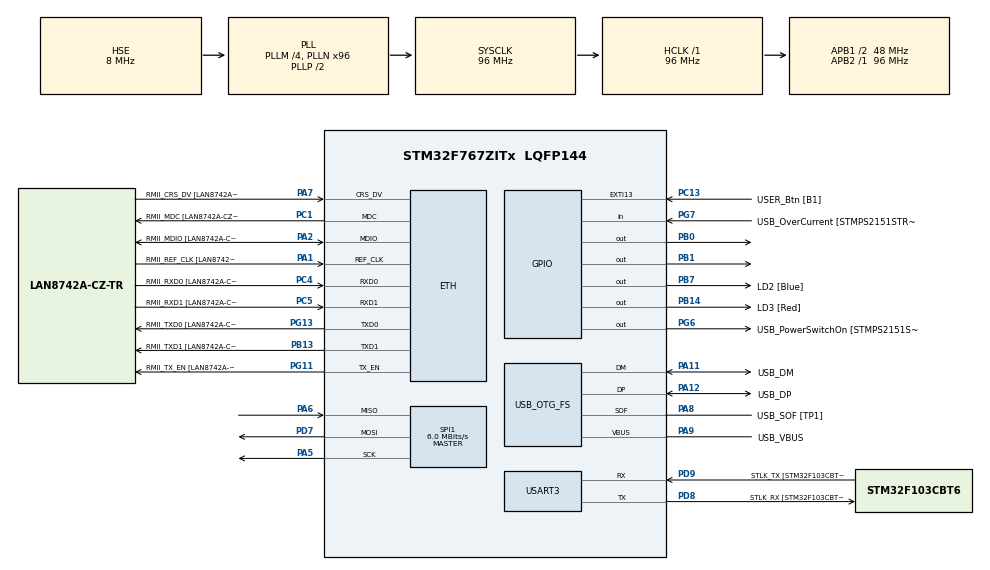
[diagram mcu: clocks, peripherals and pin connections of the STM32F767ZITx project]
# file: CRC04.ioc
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ETH.MediaInterface=HAL_ETH_RMII_MODE
ETH.PHY_Name=LAN8742A_PHY_ADDRESS
ETH.PHY_Value=0
ETH.PhyAddress=0
FATFS._MAX_SS=4096
FATFS._USE_LFN=1
Mcu.Family=STM32F7
Mcu.Name=STM32F767ZITx
Mcu.Package=LQFP144
NVIC.PriorityGroup=NVIC_PRIORITYGROUP_4
PA1.GPIO_Label=RMII_REF_CLK [LAN8742A-CZ-TR_REFCLK0]
PA1.Mode=RMII
PA1.Signal=ETH_REF_CLK
PA10.GPIO_Label=USB_ID
PA10.Signal=USB_OTG_FS_ID
PA11.GPIO_Label=USB_DM
PA11.Mode=Device_Only
PA11.Signal=USB_OTG_FS_DM
PA12.GPIO_Label=USB_DP
PA12.Mode=Device_Only
PA12.Signal=USB_OTG_FS_DP
PA13.GPIO_Label=TMS
PA13.Mode=Serial_Wire
PA13.Signal=SYS_JTMS-SWDIO
PA14.GPIO_Label=TCK
PA14.Mode=Serial_Wire
PA14.Signal=SYS_JTCK-SWCLK
PA2.GPIO_Label=RMII_MDIO [LAN8742A-CZ-TR_MDIO]
PA2.Mode=RMII
PA2.Signal=ETH_MDIO
PA5.Mode=Full_Duplex_Master
PA5.Signal=SPI1_SCK
PA6.Mode=Full_Duplex_Master
PA6.Signal=SPI1_MISO
PA7.GPIO_Label=RMII_CRS_DV [LAN8742A-CZ-TR_CRS_DV]
PA7.Mode=RMII
PA7.Signal=ETH_CRS_DV
PA8.GPIO_Label=USB_SOF [TP1]
PA8.Mode=Activate_SOF_FS
PA8.Signal=USB_OTG_FS_SOF
PA9.GPIO_Label=USB_VBUS
PA9.Mode=Activate_VBUS
PA9.Signal=USB_OTG_FS_VBUS
PB0.Signal=GPIO_Output
PB1.Signal=GPIO_Output
PB13.GPIO_Label=RMII_TXD1 [LAN8742A-CZ-TR_TXD1]
PB13.Mode=RMII
PB13.Signal=ETH_TXD1
PB14.GPIO_Label=LD3 [Red]
PB14.Signal=GPIO_Output
PB3.GPIO_Label=SWO
PB3.Signal=SYS_JTDO-SWO
PB7.GPIO_Label=LD2 [Blue]
PB7.Signal=GPIO_Output
PC1.GPIO_Label=RMII_MDC [LAN8742A-CZ-TR_MDC]
PC1.Mode=RMII
PC1.Signal=ETH_MDC
PC13.GPIO_Label=USER_Btn [B1]
PC13.Signal=GPXTI13
PC14/OSC32_IN.Signal=RCC_OSC32_IN
PC15/OSC32_OUT.Signal=RCC_OSC32_OUT
PC4.GPIO_Label=RMII_RXD0 [LAN8742A-CZ-TR_RXD0]
PC4.Mode=RMII
PC4.Signal=ETH_RXD0
PC5.GPIO_Label=RMII_RXD1 [LAN8742A-CZ-TR_RXD1]
PC5.Mode=RMII
PC5.Signal=ETH_RXD1
PD7.Mode=Full_Duplex_Master
PD7.Signal=SPI1_MOSI
PD8.GPIO_Label=STLK_RX [STM32F103CBT6_PA3]
PD8.Mode=Asynchronous
PD8.Signal=USART3_TX
PD9.GPIO_Label=STLK_TX [STM32F103CBT6_PA2]
PD9.Mode=Asynchronous
PD9.Signal=USART3_RX
PG11.GPIO_Label=RMII_TX_EN [LAN8742A-CZ-TR_TXEN]
PG11.Mode=RMII
PG11.Signal=ETH_TX_EN
PG13.GPIO_Label=RMII_TXD0 [LAN8742A-CZ-TR_TXD0]
PG13.Mode=RMII
PG13.Signal=ETH_TXD0
PG6.GPIO_Label=USB_PowerSwitchOn [STMPS2151STR_EN]
PG6.Signal=GPIO_Output
PG7.GPIO_Label=USB_OverCurrent [STMPS2151STR_FAULT]
PG7.Signal=GPIO_Input
PH0/OSC_IN.GPIO_Label=MCO [STM32F103CBT6_PA8]
PH0/OSC_IN.Mode=HSE-External-Oscillator
PH0/OSC_IN.Signal=RCC_OSC_IN
PH1/OSC_OUT.Mode=HSE-External-Oscillator
PH1/OSC_OUT.Signal=RCC_OSC_OUT
ProjectManager.HeapSize=0x200
ProjectManager.StackSize=0x400
ProjectManager.TargetToolchain=STM32CubeIDE
RCC.48MHZClocksFreq_Value=24000000
RCC.AHBFreq_Value=96000000
RCC.APB1CLKDivider=RCC_HCLK_DIV2
RCC.APB1Freq_Value=48000000
RCC.APB1TimFreq_Value=96000000
RCC.APB2Freq_Value=96000000
RCC.APB2TimFreq_Value=96000000
RCC.CortexFreq_Value=96000000
RCC.HCLKFreq_Value=96000000
RCC.HSE_VALUE=8000000
RCC.HSI_VALUE=16000000
RCC.LSE_VALUE=32768
RCC.PLLM=4
RCC.PLLMUL=RCC_PLL_MUL9
RCC.PLLN=96
RCC.PLLQ=4
RCC.PRESCALERUSB=RCC_USBCLKSOURCE_PLL_DIV1_5
RCC.SYSCLKFreq_VALUE=96000000
RCC.SYSCLKSource=RCC_SYSCLKSOURCE_PLLCLK
RCC.SYSCLKSourceVirtual=RCC_SYSCLKSOURCE_PLLCLK
RCC.USBFreq_Value=48000000
RCC.VCOOutputFreq_Value=192000000
SPI1.BaudRatePrescaler=SPI_BAUDRATEPRESCALER_16
SPI1.CalculateBaudRate=6.0 MBits/s
SPI1.DataSize=SPI_DATASIZE_8BIT
SPI1.Direction=SPI_DIRECTION_2LINES
SPI1.Mode=SPI_MODE_MASTER
SPI1.VirtualType=VM_MASTER
USART3.VirtualMode-Asynchronous=VM_ASYNC
USB_OTG_FS.VirtualMode=Device_Only
VP_CRC_VS_CRC.Mode=CRC_Activate
VP_FATFS_VS_Generic.Mode=User_defined
board=NUCLEO-F767ZI

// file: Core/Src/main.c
/* USER CODE BEGIN Header */
/**
  ******************************************************************************
  * @file           : main.c
  * @brief          : Main program body
  ******************************************************************************
  * @attention
  *
  * Copyright (c) 2024 STMicroelectronics.
  * All rights reserved.
  *
  * This software is licensed under terms that can be found in the LICENSE file
  * in the root directory of this software component.
  * If no LICENSE file comes with this software, it is provided AS-IS.
  *
  ******************************************************************************
  */
/* USER CODE END Header */
#include "main.h"
#include "string.h"
#include "fatfs.h"

/* USER CODE BEGIN Includes */

#include "fatfs_sd.h"
#include "ff.h"
#include "diskio.h"

#include <stdio.h>
#include "stm32F7xx_hal.h"

/* USER CODE END Includes */

#if defined ( __ICCARM__ ) /*!< IAR Compiler */
#pragma location=0x2007c000
ETH_DMADescTypeDef  DMARxDscrTab[ETH_RX_DESC_CNT]; /* Ethernet Rx DMA Descriptors */
#pragma location=0x2007c0a0
ETH_DMADescTypeDef  DMATxDscrTab[ETH_TX_DESC_CNT]; /* Ethernet Tx DMA Descriptors */

#elif defined ( __CC_ARM )  /* MDK ARM Compiler */

__attribute__((at(0x2007c000))) ETH_DMADescTypeDef  DMARxDscrTab[ETH_RX_DESC_CNT]; /* Ethernet Rx DMA Descriptors */
__attribute__((at(0x2007c0a0))) ETH_DMADescTypeDef  DMATxDscrTab[ETH_TX_DESC_CNT]; /* Ethernet Tx DMA Descriptors */

#elif defined ( __GNUC__ ) /* GNU Compiler */
ETH_DMADescTypeDef DMARxDscrTab[ETH_RX_DESC_CNT] __attribute__((section(".RxDecripSection"))); /* Ethernet Rx DMA Descriptors */
ETH_DMADescTypeDef DMATxDscrTab[ETH_TX_DESC_CNT] __attribute__((section(".TxDecripSection")));   /* Ethernet Tx DMA Descriptors */

#endif

ETH_TxPacketConfig TxConfig;

CRC_HandleTypeDef hcrc;

ETH_HandleTypeDef heth;

SPI_HandleTypeDef hspi1;

UART_HandleTypeDef huart3;

PCD_HandleTypeDef hpcd_USB_OTG_FS;

void SystemClock_Config(void);
static void MX_GPIO_Init(void);
static void MX_ETH_Init(void);
static void MX_USART3_UART_Init(void);
static void MX_USB_OTG_FS_PCD_Init(void);
static void MX_SPI1_Init(void);
static void MX_CRC_Init(void);

/* USER CODE BEGIN 0 */

FATFS fs; // file system

FIL fil;// file
FRESULT fresult; // to storing result of each operation
char buffer[1024];// store the data which can read/write
char checkbuff[1024];

uint32_t crcValue;
char uartbuff[1024];

#define MAXFILE 1000
#define MAX_FILENAME_LENGTH 30

char Afilename[MAXFILE][MAX_FILENAME_LENGTH];
uint32_t Acrc[MAXFILE];

char Afilename_in_index[MAXFILE][MAX_FILENAME_LENGTH];

UINT br, bw; // file read/write count (counter)

// 0.0 capacity check var
FATFS *pfs;
DWORD fre_clust;
uint32_t total, free_space;

void send_uart (char *string){

	uint8_t len = strlen (string);

	//1.1.1 transmit in blocking mode
	// HAL_UART_Transmit(UART_HandleTypeDef *huart, const uint8_t *pData, uint16_t Size, uint32_t Timeout)
	HAL_UART_Transmit(&huart3,(uint8_t *) string, len , 2000);
}

//void find_txtfile (void)
void find_txtfile (const TCHAR* namsakhun){

	DIR dir; // directory
	FILINFO fno; // file info
	//path = ""; //list

	char surname[5];

	sprintf(surname,"*.%s",namsakhun);
	send_uart(surname);

	fresult = f_opendir(&dir, "");

		 if ( fresult != FR_OK){

			 sprintf(buffer, "fresult = %d f_opendir \r\n", fresult);
			 send_uart(buffer);

		 }
		 else if ( fresult == FR_OK){

			 do{

				 //fresult = f_findfirst(&dir, &fno, "", surname);
				 fresult = f_findfirst(&dir, &fno, "index", surname);

					 while( fresult == FR_OK && fno.fname[0] ){
						 sprintf(buffer,"\r %s \r\n",fno.fname);
						 send_uart(buffer);
						 fresult = f_findnext(&dir,&fno);

					 }
		 }while (fno.fname[0] != 0);
		 }
		 f_closedir(&dir);

}

// aka. �?ลัวชื่อไฟล์ซ้ำ
int is_dup_filename (char *filename, int count){
	//if (filename != "index.txt"){
	for (int k = 0; k <= count; k++) {
	        if (strcmp(Afilename[k], filename) == 0) {
	            return 1; // Duplicate found
	        }
	}return 0; // No duplicate

 	 //}
}

int is_filename_in_index (char *filename, int count_in_index){
	//if (filename != "index.txt"){
	for (int k = 0; k <= count_in_index ; k++) {
	        if (strcmp(Afilename_in_index[k], filename) == 0) {
	            return 1; // Duplicate found
	        }
	}return 0; // No duplicate

 	 //}
}

int check_filename_w_index (const char *filename){

	fresult = f_open(&fil,filename, FA_OPEN_ALWAYS | FA_READ | FA_WRITE);

	  if ( fresult == FR_OK){
		  send_uart("index.txt opened leaw ka :P \n");
	    		}
	  if ( fresult != FR_OK){

		  send_uart("Failed to open index file T_T \r\n");
		  return -1;
	  }

	  int count = 0;
	  //f_read(&fil , buffer, sizeof(buffer) , &br);
	  while (f_gets(Afilename_in_index[count], MAX_FILENAME_LENGTH, &fil)) {

		  Afilename_in_index[count][strcspn(Afilename_in_index[count], "\n")] = '\0';
		          count++;
		          if (count >= MAXFILE) break;

	  }

	  f_close(&fil);
}

uint8_t i = 0;
uint8_t j = 0;

void find_txtfile_w_crc3 (const TCHAR* namsakhun){

	DIR dir; // directory
	FILINFO fno; // file info

	char surname[5];

	sprintf(surname,"*.%s",namsakhun);
	send_uart(surname);

	fresult = f_opendir(&dir, "");

		 if ( fresult != FR_OK){

			 sprintf(buffer, "fresult = %d f_opendir \r\n", fresult);
			 send_uart(buffer);

		 }
		 else if ( fresult == FR_OK && fno.fname != "index.txt" ){

			 do{

				 	 	 fresult = f_findfirst(&dir, &fno, "", surname);

				 	 	 /* ********************************** */
						 while( fresult == FR_OK && fno.fname[0] ){

							 if (fresult != FR_OK || fno.fname[0] == 0) {
										 if (fno.fname[0] == 0) {
											 send_uart("No more files.\r\n");
										 } else {
											 sprintf(buffer, "Error finding first file: %d\r\n", fresult);
											 send_uart(buffer);
										 }
										 break;
									 }

							 if (is_dup_filename(fno.fname,i)== 0){

								 sprintf(buffer," %s \r\n",fno.fname);
								 send_uart(buffer);

								 if ( i < MAXFILE && i == j){
									 //strncpy( Afilename[i] , fno.fname , fno.fsize );

									 strncpy(Afilename[i], fno.fname, sizeof(Afilename[i]) - 1);
									 Afilename[i][sizeof(Afilename[i]) - 1] = '\0';

									 sprintf(buffer,"File name array = %s \r\n", Afilename[i]);
									 send_uart(buffer);
									 sprintf(buffer,"position i = %d \r\n", i);
									 send_uart(buffer);

									 i++ ;

								 } else {
										send_uart("Maximum file limit reached.\r\n");
										break;
									}

								 fresult = f_open(&fil, fno.fname, FA_READ);
								 crcValue = 0xFFFFFFFF;

								 while ((fresult = f_read(&fil, buffer, sizeof(buffer), &br)) == FR_OK && br > 0) {

									crcValue = HAL_CRC_Accumulate(&hcrc, (uint32_t *)buffer, br / sizeof(uint32_t));
								 }

								 crcValue ^= 0xFFFFFFFF;

								 /* 0x%08X : to transform DEC to HEX
								  *
								  * 0x ; hex format
								  * % ; format spec
								  * 08 ; padded w 0, min of 8 char
								  * X ; uppercase hexadecimal number
								  *
								  * */

								 sprintf(uartbuff, "CRC32: 0x%08X\r\n", crcValue);
								 send_uart(uartbuff);

								 if ( j < MAXFILE && j == i-1){

										Acrc[j] = crcValue;

										sprintf(buffer,"CRC array = %u \r\n", Acrc[j]);
										send_uart(buffer);
										sprintf(buffer,"position j = %d \r\n", j);
										send_uart(buffer);

										j++ ;

								} else {
									send_uart("Maximum file limit reached.\r\n");
									break;
								}
							 }
						 f_close(&fil);

						 fresult = f_findnext(&dir,&fno);

					 }

		 }while (fno.fname[0] != 0);
		 }

		 f_closedir(&dir);

}

char Cfilename[MAXFILE][MAX_FILENAME_LENGTH];
uint32_t Ccrc[MAXFILE];

int line[100];
int crc_buff;

void check_crc_from_index(void){

	int count = 0;
	FRESULT res;

	res = f_open(&fil, "index.txt", /*FA_OPEN_ALWAYS | */ FA_READ /*| FA_WRITE*/);
	if (res != FR_OK) {
					sprintf(buffer, "Error opening output file: %d\r\n", res);
					send_uart(buffer);
					return;
				}

	while(f_gets(buffer, sizeof(buffer) ,&fil)){
			send_uart(buffer);

			// remove \n from the end of a string
			buffer[strcspn(buffer, "\n")] = '\0';

			// split file name and crc
			char *Cfilename_ = strtok(buffer, ", ");
			char *Ccrc_ = strtok(NULL, ", ");

			// filename >.<
			if (Cfilename_ != NULL) {

						sprintf(checkbuff,"Cfilename_ : %s\r\n", Cfilename_); // suppose to show string
						send_uart(checkbuff);
			}else { send_uart("Error: filename not found\r\n");}

			// CRC >.<
			if (Ccrc_ != NULL) {

						sprintf(checkbuff,"Ccrc_ : %s\r\n", Ccrc_); // suppose to show string
						send_uart(checkbuff);

						// crc's buffer : string to hex
						crc_buff = (int) strtol(Ccrc_,NULL,16);
						sprintf(checkbuff,"%X\r\n", crc_buff);
						send_uart(checkbuff);

			}else { send_uart("Error: CRC value not found\r\n");}

			// add to the clone array
			if(Cfilename_&& Ccrc != NULL){

				strncpy(Cfilename[count], Cfilename_, MAX_FILENAME_LENGTH - 1);
				Cfilename[count][MAX_FILENAME_LENGTH - 1] = '\0'; //
				Ccrc[count] = crc_buff;

				count++;
			}

	}

	for (int i = 0; i < count; i++) {
			sprintf(buffer,"Name: %s, CRC: %d\r\n", Cfilename[i], Ccrc[i]);
			send_uart(buffer);
	}

	f_close(&fil);

	// compare array btw Afilename w Cfilename
	for (int i = 0; i <= count; i++) {
		for(int j = 0; j<= count; j++){
			if(Ccrc[i] == Acrc[j]){
				sprintf(buffer,"sump jaaaaa, Acrc = %d , Ccrc = %d \r\n",Acrc[j],Ccrc[i]);
				send_uart(buffer);
				break;

			}else if(Ccrc[i] != Acrc[j]){
				send_uart("no sump ka\r\n");
				if(j == count){
					sprintf(buffer,"still no sump jaaaaa, Ccrc = %d \r\n",Ccrc[i]);
					send_uart(buffer);
				}

			}
		}
	}

}

uint8_t hrs_r_gmt;
uint8_t min_r;
uint8_t sec_r;

uint8_t exact_date;
uint8_t exact_month;

char hrs_r_gmt_char[2];
char min_r_char[2];
char sec_r_char[2];

char exact_date_char[2];
char exact_month_char[2];

char timestamp_now[20];

void utc2rtc_ja(uint32_t UTC_now){

	// compare array btw Afilename w Cfilename
	// started date : 07-30-2024

	uint32_t m = 63072000; // year 1972 in UTC
	uint32_t fouryears_sec = 126230400; // all sec in 4 years

	//uint32_t UTC_now = 1722837758;

	// n = remaining sec started in 1972
	uint32_t n = UTC_now - m;

	sprintf(buffer,"n = %u \r\n",n);
	send_uart(buffer);

	double tt = (double)n / (double)fouryears_sec ; // tt = total round in 4 years

	// find remaining round
	double rr = (double)tt - (int)tt ;

	sprintf(buffer,"rr = %2f \r\n",rr);
	send_uart(buffer);

	//comparing w sec in 4 years
	uint32_t sec4y_rr = rr* fouryears_sec ;

	//total day remaining
	////// aka. convert sec4y_rr (sec) -> day
	double days4y_rr = (double)sec4y_rr / (double)(60*60*24) ;

	////////////////////////////////////////////////

	//decimal day remaining
	double decday4y_rr = (double)days4y_rr - (int)days4y_rr ;

	uint8_t GMT_7 = 7;

	////////////////////////////////////////////////

	//only day remaining
	uint32_t onlyday4y_rr = (int)days4y_rr ;

	uint16_t thisyear = 1972 + (4*(int)tt);

	///////////////////////////////////////////////

	// convert remaining days in 4year(decday4y_rr) to hour
	double hrs_r = decday4y_rr * 24.0;

	//// hour + GMT
	hrs_r_gmt = (int)hrs_r + GMT_7;

	// convert remaining days in 4year(decday4y_rr) to minute
	double min_rr = ((double)hrs_r - (int)hrs_r)*60 ;
	min_r = (int)min_rr;

	// convert remaining days in 4year(min_r) to sec
	sec_r = ((double)min_rr - (int)min_rr)*60 ;

	/////////////////
	// Aug 05, 2024 editing

	int a = onlyday4y_rr;;

	uint16_t days_in_months[12];

	if (thisyear % 4 == 0) {
	        // Leap year
	        days_in_months[0] = 31;  // January
	        days_in_months[1] = 29;  // February
	        days_in_months[2] = 31;  // March
	        days_in_months[3] = 30;  // April
	        days_in_months[4] = 31;  // May
	        days_in_months[5] = 30;  // June
	        days_in_months[6] = 31;  // July
	        days_in_months[7] = 31;  // August
	        days_in_months[8] = 30;  // September
	        days_in_months[9] = 31;  // October
	        days_in_months[10] = 30; // November
	        days_in_months[11] = 31; // December
	    } else {
	        // Non-leap year
	        days_in_months[0] = 31;  // January
	        days_in_months[1] = 28;  // February
	        days_in_months[2] = 31;  // March
	        days_in_months[3] = 30;  // April
	        days_in_months[4] = 31;  // May
	        days_in_months[5] = 30;  // June
	        days_in_months[6] = 31;  // July
	        days_in_months[7] = 31;  // August
	        days_in_months[8] = 30;  // September
	        days_in_months[9] = 31;  // October
	        days_in_months[10] = 30; // November
	        days_in_months[11] = 31; // December
	    }

	    // Iterate through months to find the exact month and date
	    for (uint8_t month = 0; month < 12; month++) {
	        if (a < days_in_months[month]) {
	            exact_date = a + 1;
	            exact_month = month + 1;
	            break ;

	        }
	        a -= days_in_months[month];
	    }

//	    uint8_t hrs_r_gmt;
//	    uint8_t min_r;
//	    uint8_t sec_r;
//
//	    uint8_t exact_date;
//	    uint8_t exact_month;

	    if(exact_month < 10){sprintf(exact_month_char,"0%u",exact_month);}
	    		else {sprintf(exact_month_char, "%u", exact_month);}

	    if(exact_date < 10){sprintf(exact_date_char,"0%u",exact_date);}
	    		else {sprintf(exact_date_char, "%u", exact_date);}

	    if(hrs_r_gmt < 10){sprintf(hrs_r_gmt_char,"0%u",hrs_r_gmt);}
	    		else {sprintf(hrs_r_gmt_char, "%u", hrs_r_gmt);}

	    if(min_r < 10){sprintf(min_r_char,"0%u",min_r);}
	    	    		else {sprintf(min_r_char, "%u", min_r);}

	    if(sec_r < 10){sprintf(sec_r_char,"0%u",sec_r);}
	    	    	    else {sprintf(sec_r_char, "%u", sec_r);}

	///////
	sprintf(buffer,"now : %u/%s/%s , %s:%s:%s \r\n",thisyear,exact_month_char,exact_date_char,hrs_r_gmt_char,min_r_char,sec_r_char);
	send_uart(buffer);

	sprintf(timestamp_now,"%u%s%s_%s-%s-%s",thisyear,exact_month_char,exact_date_char,hrs_r_gmt_char,min_r_char,sec_r_char);
	send_uart(timestamp_now);

}

void create_new_file_w_timestamp( const char* log_buff , const char* surname_timestamp){

	char buffer_name[30];

	sprintf(buffer_name,"%s_%s.%s",log_buff,timestamp_now,surname_timestamp);

	fresult = f_open(&fil, buffer_name, FA_OPEN_ALWAYS | FA_READ | FA_WRITE );

	strcpy (buffer, "this is the noob text from noob ziang\r\n");

		  fresult = f_write(&fil, buffer , bufsize(buffer), &bw);

	f_close(&fil);
	bufclear();

}

void choose_file_name( int chosen_num){

	char buffer_num[100];

	sprintf(buffer_num,"chosen number : %d \r\nfilename : %s \r\nCRC32 value : 0x%08X\r\n  ",chosen_num,Afilename[chosen_num],Acrc[chosen_num]);
	send_uart(buffer_num);

	bufclear_custom(buffer_num);

}

int bufsize (char *buf){ // bufsize is use to determine the size of buffer up to which it is filled
	int m = 0;
	while (*buf++ != '\0'){
		m++;
	}
	return m;
}

void add_2_indexFile (const char *output_filename){
	// we have to add arrays to index file in the final step kaaa :P
	// arrays =  Afilename, Acrc

	 	FIL output_file;
	    FRESULT res;
	    UINT bw;
	    //if(output_filename != "index.txt"){
			res = f_open(&output_file, output_filename, FA_WRITE | FA_READ);
			if (res != FR_OK) {
				sprintf(buffer, "Error opening output file: %d\r\n", res);
				send_uart(buffer);
				return;
			}

			for (int k = 0; k < MAXFILE; k++) {
				if (strlen(Afilename[k]) == 0 ) {
					break; // No more filenames to write
				}
				sprintf(buffer, "%u, %s, 0x%08X\r\n",k, Afilename[k], Acrc[k]);

				send_uart(buffer);

					res = f_write(&output_file, buffer, strlen(buffer), &bw);
					if (res != FR_OK) {
						sprintf(buffer, "Error writing to output file: %d\r\n", res);
						send_uart(buffer);
						break;
					}
			}

			f_close(&output_file);

	   // }

}

void add_22_indexFile (const char *output_filename){
	// we have to add arrays to index file in the final step kaaa :P
	// arrays =  Afilename, Acrc

	 	FIL output_file;
	    FRESULT res;
	    UINT bw;

	    res = f_open(&output_file, output_filename, FA_WRITE | FA_READ);
	    if (res != FR_OK) {
	        sprintf(buffer, "Error opening output file: %d\r\n", res);
	        send_uart(buffer);
	        return;
	    }

	    for (int k = 0; k < MAXFILE; k++) {
	        if (strlen(Afilename[k]) == 0 ) {
	            break; // No more filenames to write
	        }

	        if (is_dup_filename("index.txt",i)== 0){

	        		sprintf(buffer, "%s, 0x%08X\r\n", Afilename[k], Acrc[k]);

	        		send_uart(buffer);

					res = f_write(&output_file, buffer, strlen(buffer), &bw);
					if (res != FR_OK) {
						sprintf(buffer, "Error writing to output file: %d\r\n", res);
						send_uart(buffer);
						break;
					}
	        }

	    }

	    f_close(&output_file);

}

// 1.3 clear buffer
void bufclear (void){
	/*
	for (int i = 0; i<1024; i++){
		buffer[i] = '\0';
	}*/

	memset(buffer,0, sizeof(buffer));

}

void bufclear_custom (char BUFF){
	/*
	for (int i = 0; i<1024; i++){
		buffer[i] = '\0';
	}*/

	memset(BUFF,0, sizeof(BUFF));

}

void mount_sd_card(void){

		fresult = f_mount(&fs, "" , 0);
	  	  if (fresult != FR_OK){
	  		  send_uart("error in mounting SD CARD \r\n");
	  	  }
	  	  else{
	  		  send_uart("SD card mounted successfully kaa ^_^ \r\n");
	  	  }

	  	 // FRESULT f_getfree (const TCHAR* path, DWORD* nclst, FATFS** fatfs);	/* Get number of free clusters on the drive */

	  		  f_getfree("",&fre_clust, &pfs);

	  		  total = (uint32_t)( (pfs ->n_fatent - 2) * pfs ->csize * 0.5);
	  		  sprintf (buffer, "SD CARD Total Size: \t%lu\r\n",total);
	  		  // %lu is unsigned int or unsigned long
	  		  send_uart(buffer);
	  		  bufclear();

	  		  free_space = (uint32_t)(fre_clust * pfs ->csize * 0.5);
	  		  sprintf (buffer,"SD CARD Free space: \t%lu\r\n",free_space);
	  		  send_uart(buffer);

	  		  bufclear();

}

void delete_file_in_sd_card(const char *filename_wanna_delete, const char *namsakhun_wanna_delete){

	char buff[30];
	sprintf(buff,"%s.%s",filename_wanna_delete,namsakhun_wanna_delete);
	fresult = f_unlink(buff);
	if ( fresult == FR_OK ){
		sprintf(buffer,"%s removed successfully \r\n",buff);
		send_uart(buffer);}
}

/* USER CODE END 0 */

int main(void)
{

  /* MCU Configuration--------------------------------------------------------*/

  /* Reset of all peripherals, Initializes the Flash interface and the Systick. */
  HAL_Init();

  /* Configure the system clock */
  SystemClock_Config();

  /* Initialize all configured peripherals */
  MX_GPIO_Init();
  MX_ETH_Init();
  MX_USART3_UART_Init();
  MX_USB_OTG_FS_PCD_Init();
  MX_SPI1_Init();
  MX_FATFS_Init();
  MX_CRC_Init();
  /* USER CODE BEGIN 2 */

  // ************* - reset state - *******************************************

      	 // 2. mount SD card
      	  	  mount_sd_card();

      	 // 3. BLANK index.txt

      	  	  // remove index.txt
     	  	  delete_file_in_sd_card("index","txt");

     	  	  //delete_file_in_sd_card("log_20240813_16-01-34","txt");

    		  // create an index.txt file
    		  fresult = f_open(&fil,"index.txt", FA_OPEN_ALWAYS | FA_READ | FA_WRITE);
    		  	  if ( fresult == FR_OK ){send_uart("index.txt opened leaw ka :P \n");}

    		  f_read(&fil , buffer, sizeof(buffer) , &br);

    		  f_close(&fil); // don't forget to close the file
    		  bufclear();

      // *******************

      //find_txtfile("txt");

    //  bufclear();
    //  find_txtfile_w_crc3("txt");
    //  bufclear();

    /*  for (int z = 0; z <= i ; z++) {

      			 sprintf(buffer,"Afilename = %d \r\n", Afilename[z]);
      			 send_uart(buffer);

      		 }*/

    //  add_2_indexFile("index.txt");

      // ************ - Record State - *****************************************

       //  1. create a file
    	  // how to create new file w timestamp
    //	  /*1)*/ utc2rtc_ja(1723620005); // <- put utc at here********
    //	  /*2)*/ create_new_file_w_timestamp("log","txt");

      // 2. put data in the file
    	  // **additional, assume it's done

      // 3. scan file inside a SD card -> files's CRC
    	  find_txtfile_w_crc3("txt");
    	  bufclear();

    	  // put list of files into the index.txt
    	  add_2_indexFile("index.txt");

      // 4. choose file wanna choose
    	  choose_file_name(3);

    //*/

      // P'new's hidden func
      //check_crc_from_index();

  /* USER CODE END 2 */

  /* Infinite loop */
  while (1)
  {

  }
}

void SystemClock_Config(void)
{
  RCC_OscInitTypeDef RCC_OscInitStruct = {0};
  RCC_ClkInitTypeDef RCC_ClkInitStruct = {0};

  /** Configure the main internal regulator output voltage
  */
  __HAL_RCC_PWR_CLK_ENABLE();
  __HAL_PWR_VOLTAGESCALING_CONFIG(PWR_REGULATOR_VOLTAGE_SCALE3);

  /** Initializes the RCC Oscillators according to the specified parameters
  * in the RCC_OscInitTypeDef structure.
  */
  RCC_OscInitStruct.OscillatorType = RCC_OSCILLATORTYPE_HSE;
  RCC_OscInitStruct.HSEState = RCC_HSE_ON;
  RCC_OscInitStruct.PLL.PLLState = RCC_PLL_ON;
  RCC_OscInitStruct.PLL.PLLSource = RCC_PLLSOURCE_HSE;
  RCC_OscInitStruct.PLL.PLLM = 4;
  RCC_OscInitStruct.PLL.PLLN = 96;
  RCC_OscInitStruct.PLL.PLLP = RCC_PLLP_DIV2;
  RCC_OscInitStruct.PLL.PLLQ = 4;
  RCC_OscInitStruct.PLL.PLLR = 2;
  if (HAL_RCC_OscConfig(&RCC_OscInitStruct) != HAL_OK)
  {
    Error_Handler();
  }

  /** Activate the Over-Drive mode
  */
  if (HAL_PWREx_EnableOverDrive() != HAL_OK)
  {
    Error_Handler();
  }

  /** Initializes the CPU, AHB and APB buses clocks
  */
  RCC_ClkInitStruct.ClockType = RCC_CLOCKTYPE_HCLK|RCC_CLOCKTYPE_SYSCLK
                              |RCC_CLOCKTYPE_PCLK1|RCC_CLOCKTYPE_PCLK2;
  RCC_ClkInitStruct.SYSCLKSource = RCC_SYSCLKSOURCE_PLLCLK;
  RCC_ClkInitStruct.AHBCLKDivider = RCC_SYSCLK_DIV1;
  RCC_ClkInitStruct.APB1CLKDivider = RCC_HCLK_DIV2;
  RCC_ClkInitStruct.APB2CLKDivider = RCC_HCLK_DIV1;

  if (HAL_RCC_ClockConfig(&RCC_ClkInitStruct, FLASH_LATENCY_3) != HAL_OK)
  {
    Error_Handler();
  }
}

static void MX_CRC_Init(void)
{

  hcrc.Instance = CRC;
  hcrc.Init.DefaultPolynomialUse = DEFAULT_POLYNOMIAL_ENABLE;
  hcrc.Init.DefaultInitValueUse = DEFAULT_INIT_VALUE_ENABLE;
  hcrc.Init.InputDataInversionMode = CRC_INPUTDATA_INVERSION_NONE;
  hcrc.Init.OutputDataInversionMode = CRC_OUTPUTDATA_INVERSION_DISABLE;
  hcrc.InputDataFormat = CRC_INPUTDATA_FORMAT_BYTES;
  if (HAL_CRC_Init(&hcrc) != HAL_OK)
  {
    Error_Handler();
  }

}

static void MX_ETH_Init(void)
{

   static uint8_t MACAddr[6];

  heth.Instance = ETH;
  MACAddr[0] = 0x00;
  MACAddr[1] = 0x80;
  MACAddr[2] = 0xE1;
  MACAddr[3] = 0x00;
  MACAddr[4] = 0x00;
  MACAddr[5] = 0x00;
  heth.Init.MACAddr = &MACAddr[0];
  heth.Init.MediaInterface = HAL_ETH_RMII_MODE;
  heth.Init.TxDesc = DMATxDscrTab;
  heth.Init.RxDesc = DMARxDscrTab;
  heth.Init.RxBuffLen = 1524;

  if (HAL_ETH_Init(&heth) != HAL_OK)
  {
    Error_Handler();
  }

  memset(&TxConfig, 0 , sizeof(ETH_TxPacketConfig));
  TxConfig.Attributes = ETH_TX_PACKETS_FEATURES_CSUM | ETH_TX_PACKETS_FEATURES_CRCPAD;
  TxConfig.ChecksumCtrl = ETH_CHECKSUM_IPHDR_PAYLOAD_INSERT_PHDR_CALC;
  TxConfig.CRCPadCtrl = ETH_CRC_PAD_INSERT;

}

static void MX_SPI1_Init(void)
{

  /* SPI1 parameter configuration*/
  hspi1.Instance = SPI1;
  hspi1.Init.Mode = SPI_MODE_MASTER;
  hspi1.Init.Direction = SPI_DIRECTION_2LINES;
  hspi1.Init.DataSize = SPI_DATASIZE_8BIT;
  hspi1.Init.CLKPolarity = SPI_POLARITY_LOW;
  hspi1.Init.CLKPhase = SPI_PHASE_1EDGE;
  hspi1.Init.NSS = SPI_NSS_SOFT;
  hspi1.Init.BaudRatePrescaler = SPI_BAUDRATEPRESCALER_16;
  hspi1.Init.FirstBit = SPI_FIRSTBIT_MSB;
  hspi1.Init.TIMode = SPI_TIMODE_DISABLE;
  hspi1.Init.CRCCalculation = SPI_CRCCALCULATION_DISABLE;
  hspi1.Init.CRCPolynomial = 7;
  hspi1.Init.CRCLength = SPI_CRC_LENGTH_DATASIZE;
  hspi1.Init.NSSPMode = SPI_NSS_PULSE_ENABLE;
  if (HAL_SPI_Init(&hspi1) != HAL_OK)
  {
    Error_Handler();
  }

}

static void MX_USART3_UART_Init(void)
{

  huart3.Instance = USART3;
  huart3.Init.BaudRate = 115200;
  huart3.Init.WordLength = UART_WORDLENGTH_8B;
  huart3.Init.StopBits = UART_STOPBITS_1;
  huart3.Init.Parity = UART_PARITY_NONE;
  huart3.Init.Mode = UART_MODE_TX_RX;
  huart3.Init.HwFlowCtl = UART_HWCONTROL_NONE;
  huart3.Init.OverSampling = UART_OVERSAMPLING_16;
  huart3.Init.OneBitSampling = UART_ONE_BIT_SAMPLE_DISABLE;
  huart3.AdvancedInit.AdvFeatureInit = UART_ADVFEATURE_NO_INIT;
  if (HAL_UART_Init(&huart3) != HAL_OK)
  {
    Error_Handler();
  }

}

static void MX_USB_OTG_FS_PCD_Init(void)
{

  hpcd_USB_OTG_FS.Instance = USB_OTG_FS;
  hpcd_USB_OTG_FS.Init.dev_endpoints = 6;
  hpcd_USB_OTG_FS.Init.speed = PCD_SPEED_FULL;
  hpcd_USB_OTG_FS.Init.dma_enable = DISABLE;
  hpcd_USB_OTG_FS.Init.phy_itface = PCD_PHY_EMBEDDED;
  hpcd_USB_OTG_FS.Init.Sof_enable = ENABLE;
  hpcd_USB_OTG_FS.Init.low_power_enable = DISABLE;
  hpcd_USB_OTG_FS.Init.lpm_enable = DISABLE;
  hpcd_USB_OTG_FS.Init.vbus_sensing_enable = ENABLE;
  hpcd_USB_OTG_FS.Init.use_dedicated_ep1 = DISABLE;
  if (HAL_PCD_Init(&hpcd_USB_OTG_FS) != HAL_OK)
  {
    Error_Handler();
  }

}

static void MX_GPIO_Init(void)
{
  GPIO_InitTypeDef GPIO_InitStruct = {0};

  /* GPIO Ports Clock Enable */
  __HAL_RCC_GPIOC_CLK_ENABLE();
  __HAL_RCC_GPIOH_CLK_ENABLE();
  __HAL_RCC_GPIOA_CLK_ENABLE();
  __HAL_RCC_GPIOB_CLK_ENABLE();
  __HAL_RCC_GPIOD_CLK_ENABLE();
  __HAL_RCC_GPIOG_CLK_ENABLE();

  /*Configure GPIO pin Output Level */
  HAL_GPIO_WritePin(GPIOB, GPIO_PIN_0|GPIO_PIN_1|LD3_Pin|LD2_Pin, GPIO_PIN_RESET);

  /*Configure GPIO pin Output Level */
  HAL_GPIO_WritePin(USB_PowerSwitchOn_GPIO_Port, USB_PowerSwitchOn_Pin, GPIO_PIN_RESET);

  /*Configure GPIO pin : USER_Btn_Pin */
  GPIO_InitStruct.Pin = USER_Btn_Pin;
  GPIO_InitStruct.Mode = GPIO_MODE_IT_RISING;
  GPIO_InitStruct.Pull = GPIO_NOPULL;
  HAL_GPIO_Init(USER_Btn_GPIO_Port, &GPIO_InitStruct);

  /*Configure GPIO pins : PB0 PB1 LD3_Pin LD2_Pin */
  GPIO_InitStruct.Pin = GPIO_PIN_0|GPIO_PIN_1|LD3_Pin|LD2_Pin;
  GPIO_InitStruct.Mode = GPIO_MODE_OUTPUT_PP;
  GPIO_InitStruct.Pull = GPIO_NOPULL;
  GPIO_InitStruct.Speed = GPIO_SPEED_FREQ_LOW;
  HAL_GPIO_Init(GPIOB, &GPIO_InitStruct);

  /*Configure GPIO pin : USB_PowerSwitchOn_Pin */
  GPIO_InitStruct.Pin = USB_PowerSwitchOn_Pin;
  GPIO_InitStruct.Mode = GPIO_MODE_OUTPUT_PP;
  GPIO_InitStruct.Pull = GPIO_NOPULL;
  GPIO_InitStruct.Speed = GPIO_SPEED_FREQ_LOW;
  HAL_GPIO_Init(USB_PowerSwitchOn_GPIO_Port, &GPIO_InitStruct);

  /*Configure GPIO pin : USB_OverCurrent_Pin */
  GPIO_InitStruct.Pin = USB_OverCurrent_Pin;
  GPIO_InitStruct.Mode = GPIO_MODE_INPUT;
  GPIO_InitStruct.Pull = GPIO_NOPULL;
  HAL_GPIO_Init(USB_OverCurrent_GPIO_Port, &GPIO_InitStruct);

}

void Error_Handler(void)
{
  __disable_irq();
  while (1)
  {
  }
}
